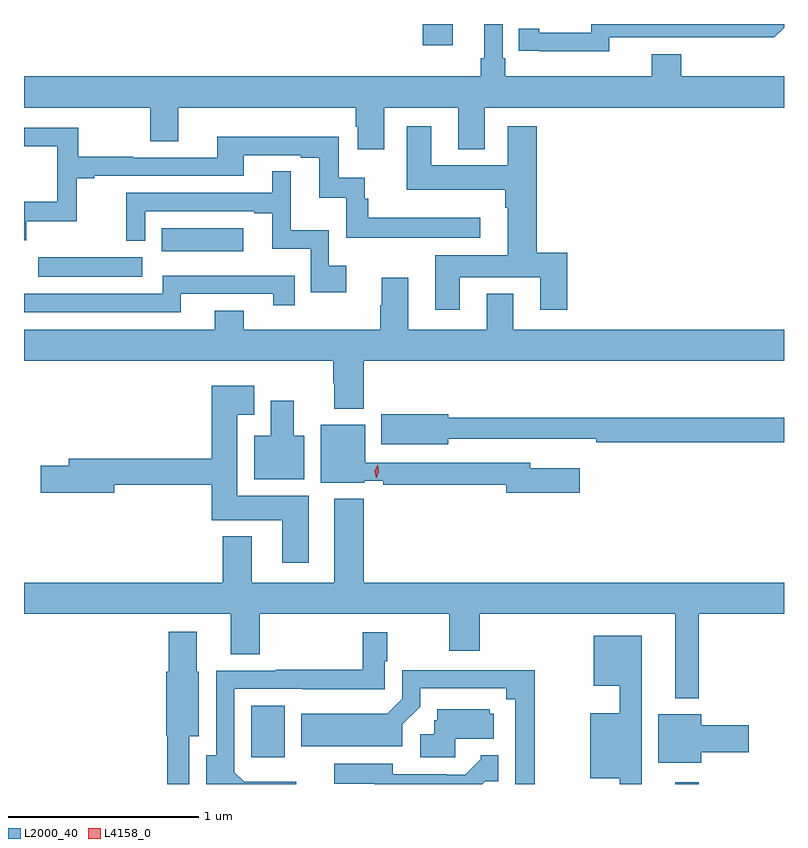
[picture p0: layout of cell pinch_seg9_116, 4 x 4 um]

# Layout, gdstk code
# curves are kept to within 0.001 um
import gdstk
lib = gdstk.Library(unit=1e-6, precision=1e-09)
def R(c, l, rs):  # rectangles x0, y0, x1, y1
    for r in rs: c.add(gdstk.rectangle(r[:2], r[2:], *l))
def P(c, l, *ps):  # polygons
    for p in ps: c.add(gdstk.Polygon(p, *l))
L2000_40 = (2000, 40)
L4158_0 = (4158, 0)

pinch_seg9_116 = lib.new_cell('pinch_seg9_116')
R(pinch_seg9_116, L2000_40, [(846.221,1224.828,846.343,1224.838), (843.989,1224.969,844.165,1225.24), (842.869,1227.497,843.415,1227.601), (843.517,1227.632,843.946,1227.754), (844.892,1228.716,845.05,1228.828)])
P(pinch_seg9_116, L2000_40, [(845.874,1228.758),(846.742,1228.757),(846.793,1228.807),(846.793,1228.828),(845.778,1228.828),(845.778,1228.782),(845.506,1228.782),(845.506,1228.802),(845.398,1228.802),(845.398,1228.686),(845.874,1228.685)],
  [(844.69,1228.388),(845.078,1228.388),(845.078,1228.17),(845.218,1228.17),(845.218,1228.388),(846.793,1228.388),(846.793,1228.552),(846.251,1228.552),(846.251,1228.669),(846.098,1228.669),(846.098,1228.552),(845.327,1228.552),(845.327,1228.648),(845.313,1228.648),(845.313,1228.828),(845.216,1228.828),(845.216,1228.648),(845.197,1228.648),(845.197,1228.552),(842.793,1228.552),(842.793,1228.388),(843.457,1228.388),(843.457,1228.21),(843.604,1228.21),(843.604,1228.388),(844.538,1228.388),(844.538,1228.287),(844.55,1228.287),(844.55,1228.17),(844.69,1228.17)],
  [(845.086,1227.494),(845.51,1227.494),(845.51,1227.324),(845.651,1227.324),(845.651,1227.623),(845.492,1227.623),(845.492,1228.291),(845.339,1228.291),(845.339,1228.084),(844.936,1228.084),(844.936,1228.291),(844.808,1228.291),(844.808,1227.956),(845.327,1227.956),(845.327,1227.86),(845.339,1227.86),(845.339,1227.61),(844.958,1227.61),(844.958,1227.324),(845.086,1227.324)],
  [(842.804,1227.791),(843.071,1227.791),(843.071,1228.017),(843.163,1228.017),(843.163,1228.029),(843.949,1228.029),(843.949,1228.137),(844.25,1228.137),(844.25,1228.125),(844.346,1228.125),(844.346,1227.914),(844.488,1227.914),(844.488,1227.704),(845.194,1227.704),(845.194,1227.808),(844.604,1227.808),(844.604,1227.909),(844.587,1227.909),(844.587,1228.018),(844.45,1228.018),(844.45,1228.234),(843.809,1228.234),(843.809,1228.125),(843.368,1228.125),(843.368,1228.13),(843.079,1228.13),(843.079,1228.281),(842.793,1228.281),(842.793,1228.185),(842.969,1228.185),(842.969,1227.893),(842.793,1227.893),(842.793,1227.691),(842.804,1227.691)],
  [(844.489,1227.556),(844.398,1227.556),(844.398,1227.742),(844.198,1227.742),(844.198,1228.052),(844.1,1228.052),(844.1,1227.939),(843.331,1227.939),(843.331,1227.686),(843.432,1227.686),(843.432,1227.843),(844.004,1227.843),(844.004,1227.831),(844.1,1227.831),(844.1,1227.644),(844.302,1227.644),(844.302,1227.416),(844.489,1227.416)],
  [(843.619,1227.408),(844.106,1227.408),(844.106,1227.348),(844.217,1227.348),(844.217,1227.504),(843.522,1227.504),(843.522,1227.408),(842.793,1227.408),(842.793,1227.312),(843.619,1227.312)],
  [(844.58,1227.056),(846.793,1227.056),(846.793,1227.22),(845.368,1227.22),(845.368,1227.409),(845.228,1227.409),(845.228,1227.22),(844.816,1227.22),(844.816,1227.493),(844.676,1227.493),(844.676,1227.348),(844.669,1227.348),(844.669,1227.22),(843.95,1227.22),(843.95,1227.319),(843.797,1227.319),(843.797,1227.22),(842.793,1227.22),(842.793,1227.056),(844.42,1227.056),(844.42,1226.936),(844.427,1226.936),(844.427,1226.804),(844.58,1226.804)],
  [(844.291,1226.344),(843.916,1226.344),(843.916,1226.771),(844.006,1226.771),(844.006,1226.923),(843.782,1226.923),(843.782,1226.54),(843.029,1226.54),(843.029,1226.504),(842.88,1226.504),(842.88,1226.362),(843.268,1226.362),(843.268,1226.404),(843.782,1226.404),(843.782,1226.216),(844.151,1226.216),(844.151,1225.992),(844.291,1225.992)],
  [(844.267,1226.662),(844.213,1226.662),(844.213,1226.845),(844.091,1226.845),(844.091,1226.662),(844.004,1226.662),(844.004,1226.432),(844.267,1226.432)],
  [(845.026,1226.646),(845.554,1226.646),(845.554,1226.645),(845.806,1226.645),(845.806,1226.626),(846.793,1226.626),(846.793,1226.755),(845.026,1226.755),(845.026,1226.773),(844.674,1226.773),(844.674,1226.615),(845.026,1226.615)],
  [(845.719,1226.491),(845.458,1226.491),(845.458,1226.52),(844.588,1226.52),(844.588,1226.719),(844.355,1226.719),(844.355,1226.414),(844.584,1226.414),(844.584,1226.424),(844.684,1226.424),(844.684,1226.404),(845.33,1226.404),(845.33,1226.362),(845.719,1226.362)],
  [(846.343,1225.724),(846.793,1225.724),(846.793,1225.888),(844.58,1225.888),(844.58,1226.329),(844.427,1226.329),(844.427,1225.888),(843.991,1225.888),(843.991,1226.131),(843.839,1226.131),(843.839,1225.888),(842.793,1225.888),(842.793,1225.724),(843.881,1225.724),(843.881,1225.51),(844.034,1225.51),(844.034,1225.724),(845.032,1225.724),(845.032,1225.53),(845.192,1225.53),(845.192,1225.724),(846.221,1225.724),(846.221,1225.28),(846.343,1225.28)],
  [(843.663,1225.079),(843.712,1225.079),(843.712,1225.419),(843.703,1225.419),(843.703,1225.63),(843.554,1225.63),(843.554,1225.419),(843.542,1225.419),(843.542,1225.083),(843.547,1225.083),(843.547,1224.828),(843.663,1224.828)],
  [(844.226,1224.84),(843.953,1224.839),(843.9,1224.891),(843.9,1225.329),(844.692,1225.328),(844.692,1225.473),(844.705,1225.473),(844.705,1225.627),(844.576,1225.627),(844.576,1225.43),(844.117,1225.43),(844.117,1225.425),(843.804,1225.425),(843.804,1224.98),(843.752,1224.98),(843.752,1224.828),(844.226,1224.828)],
  [(846.043,1225.609),(845.792,1225.609),(845.792,1225.346),(845.929,1225.346),(845.929,1225.201),(845.774,1225.201),(845.774,1224.857),(845.929,1224.857),(845.929,1224.828),(846.043,1224.828)],
  [(845.48,1225.428),(844.785,1225.428),(844.785,1225.278),(844.705,1225.198),(844.253,1225.198),(844.253,1225.028),(844.785,1225.028),(844.785,1225.142),(844.878,1225.235),(844.878,1225.332),(845.332,1225.332),(845.332,1225.274),(845.379,1225.274),(845.379,1224.828),(845.48,1224.828)],
  [(845.062,1225.067),(845.266,1225.067),(845.266,1225.197),(845.244,1225.197),(845.244,1225.222),(844.967,1225.222),(844.967,1225.164),(844.951,1225.164),(844.951,1225.089),(844.878,1225.089),(844.878,1224.968),(845.062,1224.968)],
  [(846.358,1224.994),(846.607,1224.994),(846.607,1225.136),(846.358,1225.136),(846.358,1225.195),(846.131,1225.195),(846.131,1224.941),(846.358,1224.941)],
  [(845.22,1224.843),(845.289,1224.843),(845.289,1224.979),(845.196,1224.979),(845.196,1224.957),(845.115,1224.876),(845.015,1224.876),(845.015,1224.879),(844.734,1224.879),(844.734,1224.934),(844.425,1224.934),(844.425,1224.83),(844.638,1224.83),(844.638,1224.828),(845.205,1224.828)])
P(pinch_seg9_116, L4158_0, [(844.646,1226.437),(844.646,1226.437),(844.64,1226.473),(844.654,1226.507),(844.654,1226.508),(844.654,1226.507),(844.66,1226.471),(844.647,1226.437)])

lib.write_gds('pinch_seg9_116.gds')
